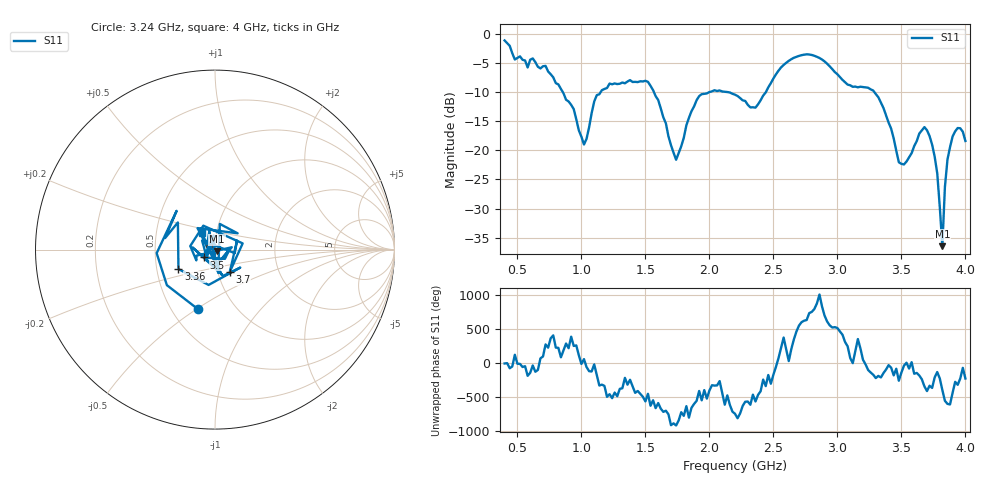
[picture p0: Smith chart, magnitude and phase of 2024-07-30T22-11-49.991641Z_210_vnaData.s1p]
!Created with skrf (http://scikit-rf.org).
# Hz S RI R 50.0
!freq ReS11 ImS11
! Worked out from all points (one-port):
!   181 points, 400 MHz to 4 GHz, reference 50 ohm
!   lowest |S11| = -36.5 dB at 3.82 GHz (marker M1), VSWR 1.03, Z = 51.1 - j1.01 ohm
!   |S11| at or under -10 dB: 1.566 GHz to 2 GHz (433.7 MHz wide, 24.3 % of centre); 2.14 GHz to 2.442 GHz (301.6 MHz wide, 13.2 % of centre); 3.288 GHz to end of sweep (the widest 3 of 4)
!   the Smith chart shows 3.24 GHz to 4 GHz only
!   S11 on the Smith chart (normalised r, x): 3.24 GHz: 0.67, -0.50; 3.36 GHz: 0.65, -0.15; 3.5 GHz: 0.88, -0.08; 3.7 GHz: 1.14, -0.29; 4 GHz: 0.85, +0.16
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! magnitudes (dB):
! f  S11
! 400 MHz  -1.1
! 580 MHz  -5.8
! 720 MHz  -5.5
! 860 MHz  -10.2
! 1.02 GHz  -19.0
! 1.12 GHz  -10.5
! 1.3 GHz  -8.6
! 1.52 GHz  -8.2
! 1.6 GHz  -11.4
! 1.74 GHz  -21.6
! 1.76 GHz  -20.5
! 1.92 GHz  -10.7
! 2.2 GHz  -10.5
! 2.36 GHz  -12.7
! 2.66 GHz  -4.1
! 2.86 GHz  -4.2
! 3.1 GHz  -8.8
! 3.24 GHz  -9.3
! 3.36 GHz  -12.7
! 3.5 GHz  -22.3
! 3.56 GHz  -21.2
! 3.7 GHz  -16.6
! 3.78 GHz  -23.9
! 3.82 GHz  -36.5
! 3.84 GHz  -26.3
! 3.88 GHz  -19.5
! 3.94 GHz  -16.2
! 4 GHz  -18.4
